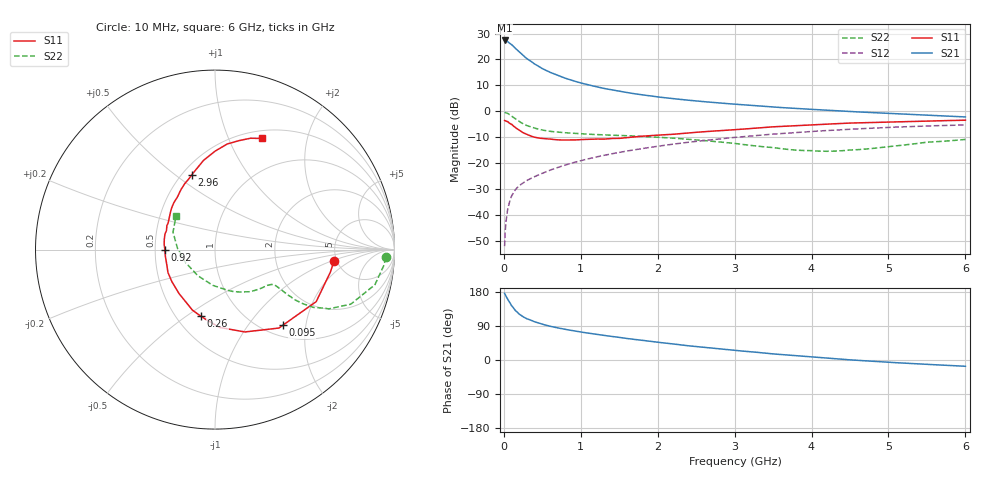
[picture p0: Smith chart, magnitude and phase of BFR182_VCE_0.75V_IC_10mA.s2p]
! Infineon Technologies  Discrete & RF Semiconductors
! BFR182
! VCE = 0.75 V,  IC =  10 mA
! Common Emitter S-Parameters:  Nov 2015
# GHz  S  MA  R  50
!  f  S11  S21  S12  S22
! GHz  MAG  ANG  MAG  ANG  MAG  ANG  MAG  ANG
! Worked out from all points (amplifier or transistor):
!   210 points, 10 MHz to 6 GHz, reference 50 ohm
!   highest |S21| = 27.3 dB at 10 MHz (marker M1)
!   |S21| within 3 dB of that: start of sweep to 148.7 MHz
!   unconditionally stable (mu >= 1): 570.5 MHz to 3.298 GHz
!   at 185 MHz: K = 0.56, MSG = 26.2 dB, |S12| = -29.1 dB
!   at 1.52 GHz: K = 1.11, MAG = 9.7 dB, |S12| = -15.8 dB
!   at 6 GHz: K = 0.97, MSG = 1.5 dB, |S12| = -5.3 dB
!   S11 on the Smith chart (normalised r, x): 10 MHz: 4.70, -1.11; 95 MHz: 1.20, -1.49; 260 MHz: 0.66, -0.57; 920 MHz: 0.56, +0.00; 2.96 GHz: 0.56, +0.58; 6 GHz: 0.59, +1.34
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0.01  0.665 -5.7  23.24 175.9  0.0025 85.9  0.9524 -2.6
0.02  0.6554 -10.9  22.79 171.6  0.0053 83.3  0.9459 -5.2
0.05  0.634 -27.2  22.1 160.1  0.0128 78.0  0.9123 -12.4
0.095  0.5661 -48.2  19.58 145.3  0.0221 69.1  0.824 -20.9
0.1  0.5638 -50.8  19.39 143.5  0.0231 68.6  0.8154 -21.9
0.15  0.4883 -70.0  16.39 130.5  0.0308 64.4  0.7165 -27.4
0.2  0.4344 -86.6  13.97 121.1  0.0367 61.9  0.6359 -30.4
0.24  0.394 -96.9  12.31 115.5  0.0405 60.8  0.585 -31.4
0.26  0.38 -101.8  11.6 113.0  0.0424 60.6  0.5638 -31.8
0.3  0.3601 -110.4  10.36 108.7  0.0462 61.1  0.5297 -32.1
0.4  0.3162 -129.5  8.177 100.8  0.0549 61.7  0.4724 -31.8
0.5  0.2993 -143.5  6.65 94.2  0.0637 63.0  0.4334 -31.2
0.7  0.2812 -162.9  4.924 84.7  0.0823 64.6  0.3961 -30.7
0.92  0.2795 180.0  3.802 76.5  0.1037 65.0  0.375 -31.2
1.02  0.2854 172.8  3.457 73.2  0.1132 65.1  0.3668 -32.0
1.4  0.2995 153.5  2.589 62.3  0.1509 63.5  0.3456 -36.5
2.02  0.3482 131.0  1.877 46.4  0.2135 58.8  0.3145 -46.8
2.96  0.4372 107.1  1.386 26.1  0.3094 49.2  0.2432 -70.6
3.1  0.4522 104.4  1.336 23.6  0.323 47.4  0.2296 -75.6
4.1  0.557 88.5  1.069 6.6  0.4169 35.1  0.1704 -130.0
5.1  0.6275 76.4  0.897 -7.1  0.4955 22.2  0.2153 173.4
6  0.6726 67.0  0.778 -16.6  0.5446 9.9  0.2863 139.3
